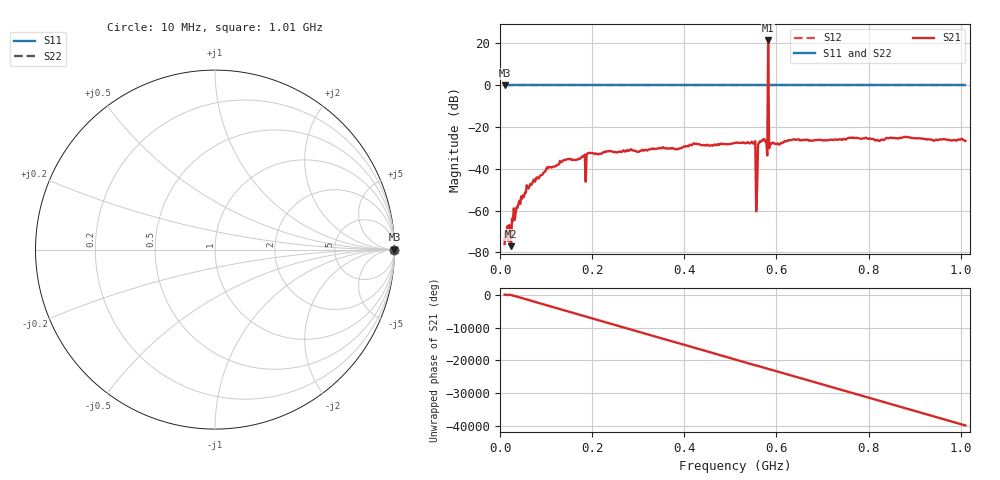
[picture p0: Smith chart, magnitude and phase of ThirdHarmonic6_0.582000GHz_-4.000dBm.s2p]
! 8/15/2025 6:48:04 PM
! C:\ANRITSUVNA\TEMP\TEMP.S2P
! CHANNEL.1
! TR.MEASUREMENT
! RAW.DATA
! RF.CORRECTION.OFF
! AVERAGING.OFF
! IF.BANDWIDTH: 5KHZ
! SWEEPTYPE:  FREQ.SWEEP(Linear)
! Reference Plane Port Info
! PORT:  PORT1  PORT2
! DISTANCE:  0  m  0  m
! TIME:  0  s  0  s
! PHASE.OFFSET:  0  deg.  0  deg.
! LOSS:  0  dB  0  dB
! REF.LOSS:  0  dB  0  dB
! REF.FREQ:  0  Hz  0  Hz
! Power Info
! POWER:  -20  dBm  -20  dBm
! EFF.POWER:  -20  dBm  -20  dBm
! SOURCE.ATTEN:  0  dB  0  dB
! TEST.ATTEN:  0  dB  0  dB
# GHZ S RI R 50.0
! FREQ.GHZ  S11RE  S11IM  S21RE  S21IM  S12RE  S12IM  S22RE  S22IM
!; PortSelection: Port_12
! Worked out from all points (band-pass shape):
!   501 points, 10 MHz to 1.01 GHz, reference 50 ohm
!   highest |S21| = 21.39 dB at 582 MHz (marker M1); lowest = -77.0 dB at 24 MHz (marker M2)
!   |S21| within 3 dB of the highest: 581.891 MHz to 582.1163 MHz (225.3 kHz wide, 0.0387 % of centre)
!   lowest |S11| = 0.0 dB at 10 MHz (marker M3)
!   |S11| at or under -10 dB: nowhere
!   |S22| runs from 0.0 to 0.0 dB; largest |S21 - S12| = 12
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0.01  1 0  0.00013 9.14e-05  1 0  1 0
0.024  1 0  2.28e-05 -0.000139  1 0  1 0
0.038  1 0  -0.000664 0.00096  1 0  1 0
0.062  1 0  -0.00147 -0.00303  1 0  1 0
0.104  1 0  0.0056 -0.00862  1 0  1 0
0.178  1 0  -0.0196 -0.00126  1 0  1 0
0.182  1 0  0.0181 0.00974  1 0  1 0
0.344  1 0  0.0291 -0.0095  1 0  1 0
0.51  1 0  -0.0358 0.021  1 0  1 0
0.55  1 0  0.0368 -0.0154  1 0  1 0
0.554  1 0  -0.0454 -0.00453  1 0  1 0
0.556  1 0  0.000619 0.000733  1 0  1 0
0.56  1 0  0.0192 -0.0325  1 0  1 0
0.564  1 0  -0.0355 0.0285  1 0  1 0
0.576  1 0  0.0434 0.00735  1 0  1 0
0.578  1 0  0.0157 -0.0421  1 0  1 0
0.582  1 0  -2.472 11.48  1 0  1 0
0.586  1 0  0.0321 -0.0186  1 0  1 0
0.588  1 0  -0.0132 -0.0383  1 0  1 0
0.678  1 0  -0.0306 -0.0359  1 0  1 0
0.844  1 0  0.0481 0.0239  1 0  1 0
1.01  1 0  -0.0462 0.00353  1 0  1 0
